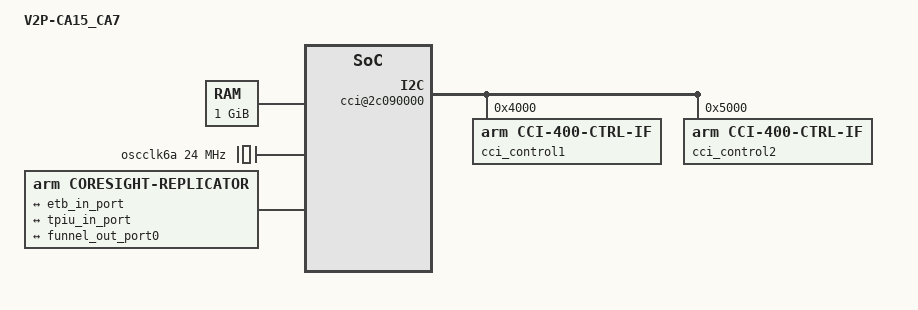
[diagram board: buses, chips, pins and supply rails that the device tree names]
/*
 * ARM Ltd. Versatile Express
 *
 * CoreTile Express A15x2 A7x3
 * Cortex-A15_A7 MPCore (V2P-CA15_A7)
 *
 * HBI-0249A
 */

/dts-v1/;

/ {
	model = "V2P-CA15_CA7";
	arm,hbi = <0x249>;
	arm,vexpress,site = <0xf>;
	compatible = "arm,vexpress,v2p-ca15_a7", "arm,vexpress";
	interrupt-parent = <&gic>;
	#address-cells = <2>;
	#size-cells = <2>;

	chosen { };

	aliases {
		serial0 = &v2m_serial0;
		serial1 = &v2m_serial1;
		serial2 = &v2m_serial2;
		serial3 = &v2m_serial3;
		i2c0 = &v2m_i2c_dvi;
		i2c1 = &v2m_i2c_pcie;
	};

	cpus {
		#address-cells = <1>;
		#size-cells = <0>;

		cpu0: cpu@0 {
			device_type = "cpu";
			compatible = "arm,cortex-a15";
			reg = <0>;
			cci-control-port = <&cci_control1>;
			cpu-idle-states = <&CLUSTER_SLEEP_BIG>;
		};

		cpu1: cpu@1 {
			device_type = "cpu";
			compatible = "arm,cortex-a15";
			reg = <1>;
			cci-control-port = <&cci_control1>;
			cpu-idle-states = <&CLUSTER_SLEEP_BIG>;
		};

		cpu2: cpu@2 {
			device_type = "cpu";
			compatible = "arm,cortex-a7";
			reg = <0x100>;
			cci-control-port = <&cci_control2>;
			cpu-idle-states = <&CLUSTER_SLEEP_LITTLE>;
		};

		cpu3: cpu@3 {
			device_type = "cpu";
			compatible = "arm,cortex-a7";
			reg = <0x101>;
			cci-control-port = <&cci_control2>;
			cpu-idle-states = <&CLUSTER_SLEEP_LITTLE>;
		};

		cpu4: cpu@4 {
			device_type = "cpu";
			compatible = "arm,cortex-a7";
			reg = <0x102>;
			cci-control-port = <&cci_control2>;
			cpu-idle-states = <&CLUSTER_SLEEP_LITTLE>;
		};

		idle-states {
			CLUSTER_SLEEP_BIG: cluster-sleep-big {
				compatible = "arm,idle-state";
				local-timer-stop;
				entry-latency-us = <1000>;
				exit-latency-us = <700>;
				min-residency-us = <2000>;
			};

			CLUSTER_SLEEP_LITTLE: cluster-sleep-little {
				compatible = "arm,idle-state";
				local-timer-stop;
				entry-latency-us = <1000>;
				exit-latency-us = <500>;
				min-residency-us = <2500>;
			};
		};
	};

	memory@80000000 {
		device_type = "memory";
		reg = <0 0x80000000 0 0x40000000>;
	};

	wdt@2a490000 {
		compatible = "arm,sp805", "arm,primecell";
		reg = <0 0x2a490000 0 0x1000>;
		interrupts = <0 98 4>;
		clocks = <&oscclk6a>, <&oscclk6a>;
		clock-names = "wdogclk", "apb_pclk";
	};

	hdlcd@2b000000 {
		compatible = "arm,hdlcd";
		reg = <0 0x2b000000 0 0x1000>;
		interrupts = <0 85 4>;
		clocks = <&oscclk5>;
		clock-names = "pxlclk";
	};

	memory-controller@2b0a0000 {
		compatible = "arm,pl341", "arm,primecell";
		reg = <0 0x2b0a0000 0 0x1000>;
		clocks = <&oscclk6a>;
		clock-names = "apb_pclk";
	};

	gic: interrupt-controller@2c001000 {
		compatible = "arm,cortex-a15-gic", "arm,cortex-a9-gic";
		#interrupt-cells = <3>;
		#address-cells = <0>;
		interrupt-controller;
		reg = <0 0x2c001000 0 0x1000>,
		      <0 0x2c002000 0 0x1000>,
		      <0 0x2c004000 0 0x2000>,
		      <0 0x2c006000 0 0x2000>;
		interrupts = <1 9 0xf04>;
	};

	cci@2c090000 {
		compatible = "arm,cci-400";
		#address-cells = <1>;
		#size-cells = <1>;
		reg = <0 0x2c090000 0 0x1000>;
		ranges = <0x0 0x0 0x2c090000 0x10000>;

		cci_control1: slave-if@4000 {
			compatible = "arm,cci-400-ctrl-if";
			interface-type = "ace";
			reg = <0x4000 0x1000>;
		};

		cci_control2: slave-if@5000 {
			compatible = "arm,cci-400-ctrl-if";
			interface-type = "ace";
			reg = <0x5000 0x1000>;
		};
	};

	memory-controller@7ffd0000 {
		compatible = "arm,pl354", "arm,primecell";
		reg = <0 0x7ffd0000 0 0x1000>;
		interrupts = <0 86 4>,
			     <0 87 4>;
		clocks = <&oscclk6a>;
		clock-names = "apb_pclk";
	};

	dma@7ff00000 {
		compatible = "arm,pl330", "arm,primecell";
		reg = <0 0x7ff00000 0 0x1000>;
		interrupts = <0 92 4>,
			     <0 88 4>,
			     <0 89 4>,
			     <0 90 4>,
			     <0 91 4>;
		clocks = <&oscclk6a>;
		clock-names = "apb_pclk";
	};

        scc@7fff0000 {
		compatible = "arm,vexpress-scc,v2p-ca15_a7", "arm,vexpress-scc";
		reg = <0 0x7fff0000 0 0x1000>;
		interrupts = <0 95 4>;
        };

	timer {
		compatible = "arm,armv7-timer";
		interrupts = <1 13 0xf08>,
			     <1 14 0xf08>,
			     <1 11 0xf08>,
			     <1 10 0xf08>;
	};

	pmu {
		compatible = "arm,cortex-a15-pmu";
		interrupts = <0 68 4>,
			     <0 69 4>;
	};

	oscclk6a: oscclk6a {
		/* Reference 24MHz clock */
		compatible = "fixed-clock";
		#clock-cells = <0>;
		clock-frequency = <24000000>;
		clock-output-names = "oscclk6a";
	};

	dcc {
		compatible = "arm,vexpress,config-bus";
		arm,vexpress,config-bridge = <&v2m_sysreg>;

		osc@0 {
			/* A15 PLL 0 reference clock */
			compatible = "arm,vexpress-osc";
			arm,vexpress-sysreg,func = <1 0>;
			freq-range = <17000000 50000000>;
			#clock-cells = <0>;
			clock-output-names = "oscclk0";
		};

		osc@1 {
			/* A15 PLL 1 reference clock */
			compatible = "arm,vexpress-osc";
			arm,vexpress-sysreg,func = <1 1>;
			freq-range = <17000000 50000000>;
			#clock-cells = <0>;
			clock-output-names = "oscclk1";
		};

		osc@2 {
			/* A7 PLL 0 reference clock */
			compatible = "arm,vexpress-osc";
			arm,vexpress-sysreg,func = <1 2>;
			freq-range = <17000000 50000000>;
			#clock-cells = <0>;
			clock-output-names = "oscclk2";
		};

		osc@3 {
			/* A7 PLL 1 reference clock */
			compatible = "arm,vexpress-osc";
			arm,vexpress-sysreg,func = <1 3>;
			freq-range = <17000000 50000000>;
			#clock-cells = <0>;
			clock-output-names = "oscclk3";
		};

		osc@4 {
			/* External AXI master clock */
			compatible = "arm,vexpress-osc";
			arm,vexpress-sysreg,func = <1 4>;
			freq-range = <20000000 40000000>;
			#clock-cells = <0>;
			clock-output-names = "oscclk4";
		};

		oscclk5: osc@5 {
			/* HDLCD PLL reference clock */
			compatible = "arm,vexpress-osc";
			arm,vexpress-sysreg,func = <1 5>;
			freq-range = <23750000 165000000>;
			#clock-cells = <0>;
			clock-output-names = "oscclk5";
		};

		smbclk: osc@6 {
			/* Static memory controller clock */
			compatible = "arm,vexpress-osc";
			arm,vexpress-sysreg,func = <1 6>;
			freq-range = <20000000 40000000>;
			#clock-cells = <0>;
			clock-output-names = "oscclk6";
		};

		osc@7 {
			/* SYS PLL reference clock */
			compatible = "arm,vexpress-osc";
			arm,vexpress-sysreg,func = <1 7>;
			freq-range = <17000000 50000000>;
			#clock-cells = <0>;
			clock-output-names = "oscclk7";
		};

		osc@8 {
			/* DDR2 PLL reference clock */
			compatible = "arm,vexpress-osc";
			arm,vexpress-sysreg,func = <1 8>;
			freq-range = <20000000 50000000>;
			#clock-cells = <0>;
			clock-output-names = "oscclk8";
		};

		volt@0 {
			/* A15 CPU core voltage */
			compatible = "arm,vexpress-volt";
			arm,vexpress-sysreg,func = <2 0>;
			regulator-name = "A15 Vcore";
			regulator-min-microvolt = <800000>;
			regulator-max-microvolt = <1050000>;
			regulator-always-on;
			label = "A15 Vcore";
		};

		volt@1 {
			/* A7 CPU core voltage */
			compatible = "arm,vexpress-volt";
			arm,vexpress-sysreg,func = <2 1>;
			regulator-name = "A7 Vcore";
			regulator-min-microvolt = <800000>;
			regulator-max-microvolt = <1050000>;
			regulator-always-on;
			label = "A7 Vcore";
		};

		amp@0 {
			/* Total current for the two A15 cores */
			compatible = "arm,vexpress-amp";
			arm,vexpress-sysreg,func = <3 0>;
			label = "A15 Icore";
		};

		amp@1 {
			/* Total current for the three A7 cores */
			compatible = "arm,vexpress-amp";
			arm,vexpress-sysreg,func = <3 1>;
			label = "A7 Icore";
		};

		temp@0 {
			/* DCC internal temperature */
			compatible = "arm,vexpress-temp";
			arm,vexpress-sysreg,func = <4 0>;
			label = "DCC";
		};

		power@0 {
			/* Total power for the two A15 cores */
			compatible = "arm,vexpress-power";
			arm,vexpress-sysreg,func = <12 0>;
			label = "A15 Pcore";
		};

		power@1 {
			/* Total power for the three A7 cores */
			compatible = "arm,vexpress-power";
			arm,vexpress-sysreg,func = <12 1>;
			label = "A7 Pcore";
		};

		energy@0 {
			/* Total energy for the two A15 cores */
			compatible = "arm,vexpress-energy";
			arm,vexpress-sysreg,func = <13 0>, <13 1>;
			label = "A15 Jcore";
		};

		energy@2 {
			/* Total energy for the three A7 cores */
			compatible = "arm,vexpress-energy";
			arm,vexpress-sysreg,func = <13 2>, <13 3>;
			label = "A7 Jcore";
		};
	};

	etb@0,20010000 {
		compatible = "arm,coresight-etb10", "arm,primecell";
		reg = <0 0x20010000 0 0x1000>;

		clocks = <&oscclk6a>;
		clock-names = "apb_pclk";
		port {
			etb_in_port: endpoint@0 {
				slave-mode;
				remote-endpoint = <&replicator_out_port0>;
			};
		};
	};

	tpiu@0,20030000 {
		compatible = "arm,coresight-tpiu", "arm,primecell";
		reg = <0 0x20030000 0 0x1000>;

		clocks = <&oscclk6a>;
		clock-names = "apb_pclk";
		port {
			tpiu_in_port: endpoint@0 {
				slave-mode;
				remote-endpoint = <&replicator_out_port1>;
			};
		};
	};

	replicator {
		/* non-configurable replicators don't show up on the
		 * AMBA bus.  As such no need to add "arm,primecell".
		 */
		compatible = "arm,coresight-replicator";

		ports {
			#address-cells = <1>;
			#size-cells = <0>;

			/* replicator output ports */
			port@0 {
				reg = <0>;
				replicator_out_port0: endpoint {
					remote-endpoint = <&etb_in_port>;
				};
			};

			port@1 {
				reg = <1>;
				replicator_out_port1: endpoint {
					remote-endpoint = <&tpiu_in_port>;
				};
			};

			/* replicator input port */
			port@2 {
				reg = <0>;
				replicator_in_port0: endpoint {
					slave-mode;
					remote-endpoint = <&funnel_out_port0>;
				};
			};
		};
	};

	funnel@0,20040000 {
		compatible = "arm,coresight-funnel", "arm,primecell";
		reg = <0 0x20040000 0 0x1000>;

		clocks = <&oscclk6a>;
		clock-names = "apb_pclk";
		ports {
			#address-cells = <1>;
			#size-cells = <0>;

			/* funnel output port */
			port@0 {
				reg = <0>;
				funnel_out_port0: endpoint {
					remote-endpoint =
						<&replicator_in_port0>;
				};
			};

			/* funnel input ports */
			port@1 {
				reg = <0>;
				funnel_in_port0: endpoint {
					slave-mode;
					remote-endpoint = <&ptm0_out_port>;
				};
			};

			port@2 {
				reg = <1>;
				funnel_in_port1: endpoint {
					slave-mode;
					remote-endpoint = <&ptm1_out_port>;
				};
			};

			port@3 {
				reg = <2>;
				funnel_in_port2: endpoint {
					slave-mode;
					remote-endpoint = <&etm0_out_port>;
				};
			};

			/* Input port #3 is for ITM, not supported here */

			port@4 {
				reg = <4>;
				funnel_in_port4: endpoint {
					slave-mode;
					remote-endpoint = <&etm1_out_port>;
				};
			};

			port@5 {
				reg = <5>;
				funnel_in_port5: endpoint {
					slave-mode;
					remote-endpoint = <&etm2_out_port>;
				};
			};
		};
	};

	ptm@0,2201c000 {
		compatible = "arm,coresight-etm3x", "arm,primecell";
		reg = <0 0x2201c000 0 0x1000>;

		cpu = <&cpu0>;
		clocks = <&oscclk6a>;
		clock-names = "apb_pclk";
		port {
			ptm0_out_port: endpoint {
				remote-endpoint = <&funnel_in_port0>;
			};
		};
	};

	ptm@0,2201d000 {
		compatible = "arm,coresight-etm3x", "arm,primecell";
		reg = <0 0x2201d000 0 0x1000>;

		cpu = <&cpu1>;
		clocks = <&oscclk6a>;
		clock-names = "apb_pclk";
		port {
			ptm1_out_port: endpoint {
				remote-endpoint = <&funnel_in_port1>;
			};
		};
	};

	etm@0,2203c000 {
		compatible = "arm,coresight-etm3x", "arm,primecell";
		reg = <0 0x2203c000 0 0x1000>;

		cpu = <&cpu2>;
		clocks = <&oscclk6a>;
		clock-names = "apb_pclk";
		port {
			etm0_out_port: endpoint {
				remote-endpoint = <&funnel_in_port2>;
			};
		};
	};

	etm@0,2203d000 {
		compatible = "arm,coresight-etm3x", "arm,primecell";
		reg = <0 0x2203d000 0 0x1000>;

		cpu = <&cpu3>;
		clocks = <&oscclk6a>;
		clock-names = "apb_pclk";
		port {
			etm1_out_port: endpoint {
				remote-endpoint = <&funnel_in_port4>;
			};
		};
	};

	etm@0,2203e000 {
		compatible = "arm,coresight-etm3x", "arm,primecell";
		reg = <0 0x2203e000 0 0x1000>;

		cpu = <&cpu4>;
		clocks = <&oscclk6a>;
		clock-names = "apb_pclk";
		port {
			etm2_out_port: endpoint {
				remote-endpoint = <&funnel_in_port5>;
			};
		};
	};

	smb {
		compatible = "simple-bus";

		#address-cells = <2>;
		#size-cells = <1>;
		ranges = <0 0 0 0x08000000 0x04000000>,
			 <1 0 0 0x14000000 0x04000000>,
			 <2 0 0 0x18000000 0x04000000>,
			 <3 0 0 0x1c000000 0x04000000>,
			 <4 0 0 0x0c000000 0x04000000>,
			 <5 0 0 0x10000000 0x04000000>;

		#interrupt-cells = <1>;
		interrupt-map-mask = <0 0 63>;
		interrupt-map = <0 0  0 &gic 0  0 4>,
				<0 0  1 &gic 0  1 4>,
				<0 0  2 &gic 0  2 4>,
				<0 0  3 &gic 0  3 4>,
				<0 0  4 &gic 0  4 4>,
				<0 0  5 &gic 0  5 4>,
				<0 0  6 &gic 0  6 4>,
				<0 0  7 &gic 0  7 4>,
				<0 0  8 &gic 0  8 4>,
				<0 0  9 &gic 0  9 4>,
				<0 0 10 &gic 0 10 4>,
				<0 0 11 &gic 0 11 4>,
				<0 0 12 &gic 0 12 4>,
				<0 0 13 &gic 0 13 4>,
				<0 0 14 &gic 0 14 4>,
				<0 0 15 &gic 0 15 4>,
				<0 0 16 &gic 0 16 4>,
				<0 0 17 &gic 0 17 4>,
				<0 0 18 &gic 0 18 4>,
				<0 0 19 &gic 0 19 4>,
				<0 0 20 &gic 0 20 4>,
				<0 0 21 &gic 0 21 4>,
				<0 0 22 &gic 0 22 4>,
				<0 0 23 &gic 0 23 4>,
				<0 0 24 &gic 0 24 4>,
				<0 0 25 &gic 0 25 4>,
				<0 0 26 &gic 0 26 4>,
				<0 0 27 &gic 0 27 4>,
				<0 0 28 &gic 0 28 4>,
				<0 0 29 &gic 0 29 4>,
				<0 0 30 &gic 0 30 4>,
				<0 0 31 &gic 0 31 4>,
				<0 0 32 &gic 0 32 4>,
				<0 0 33 &gic 0 33 4>,
				<0 0 34 &gic 0 34 4>,
				<0 0 35 &gic 0 35 4>,
				<0 0 36 &gic 0 36 4>,
				<0 0 37 &gic 0 37 4>,
				<0 0 38 &gic 0 38 4>,
				<0 0 39 &gic 0 39 4>,
				<0 0 40 &gic 0 40 4>,
				<0 0 41 &gic 0 41 4>,
				<0 0 42 &gic 0 42 4>;

		/include/ "vexpress-v2m-rs1.dtsi"
	};
};
